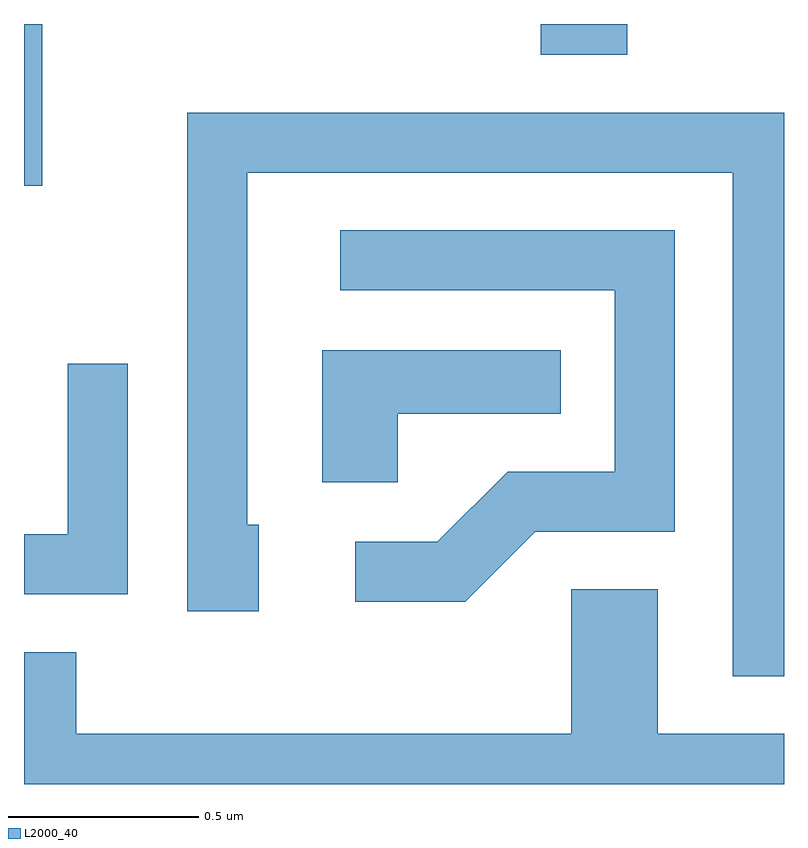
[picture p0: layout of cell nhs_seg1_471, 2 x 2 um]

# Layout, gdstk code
import gdstk
lib = gdstk.Library(unit=1e-6, precision=1e-09)
def R(c, l, rs):  # rectangles x0, y0, x1, y1
    for r in rs: c.add(gdstk.rectangle(r[:2], r[2:], *l))
def P(c, l, *ps):  # polygons
    for p in ps: c.add(gdstk.Polygon(p, *l))
L2000_40 = (2000, 40)

nhs_seg1_471 = lib.new_cell('nhs_seg1_471')
R(nhs_seg1_471, L2000_40, [(188.611,901.286,188.659,901.712), (189.971,901.631,190.199,901.712)])
P(nhs_seg1_471, L2000_40, [(190.611,901.479),(189.041,901.479),(189.041,900.166),(189.229,900.166),(189.229,900.394),(189.199,900.394),(189.199,901.321),(190.476,901.321),(190.476,899.996),(190.611,899.996)],
  [(189.957,900.376),(190.324,900.376),(190.324,901.169),(189.443,901.169),(189.443,901.011),(190.166,901.011),(190.166,900.534),(189.884,900.534),(189.699,900.349),(189.483,900.349),(189.483,900.191),(189.772,900.191)],
  [(189.594,900.686),(190.023,900.686),(190.023,900.854),(189.396,900.854),(189.396,900.506),(189.594,900.506)],
  [(188.884,900.818),(188.726,900.818),(188.726,900.369),(188.611,900.369),(188.611,900.211),(188.884,900.211)],
  [(190.611,899.844),(190.279,899.844),(190.279,900.224),(190.051,900.224),(190.051,899.844),(188.749,899.844),(188.749,900.059),(188.611,900.059),(188.611,899.712),(190.611,899.712)])

lib.write_gds('nhs_seg1_471.gds')
